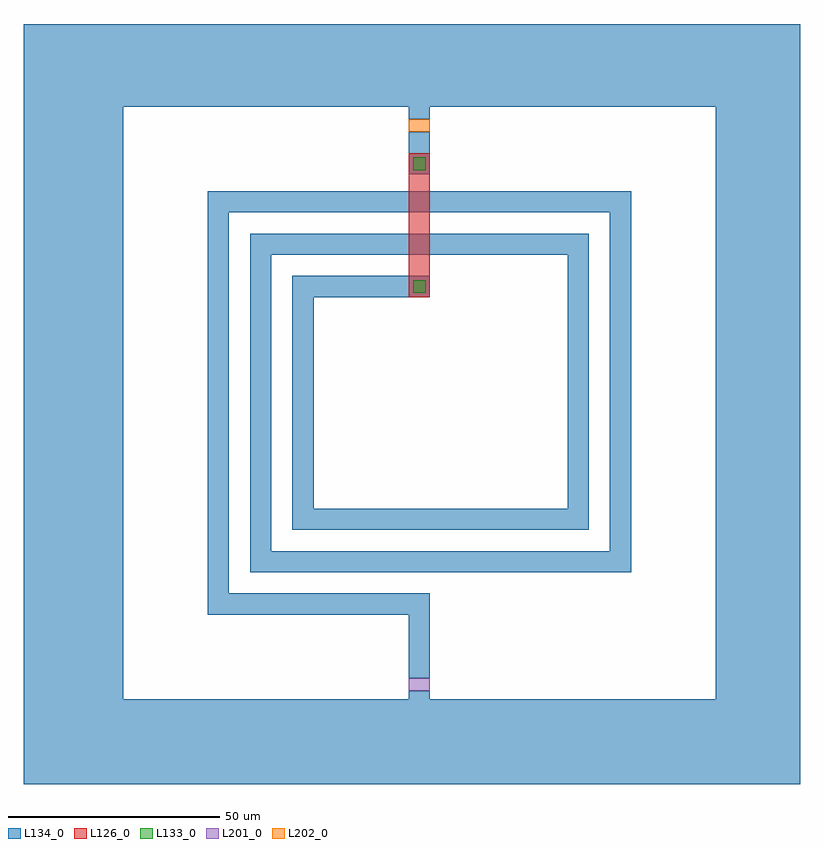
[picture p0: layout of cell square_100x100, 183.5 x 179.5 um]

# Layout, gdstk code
import gdstk
lib = gdstk.Library(unit=1e-6, precision=1e-09)
def R(c, l, rs):  # rectangles x0, y0, x1, y1
    for r in rs: c.add(gdstk.rectangle(r[:2], r[2:], *l))
def P(c, l, *ps):  # polygons
    for p in ps: c.add(gdstk.Polygon(p, *l))
L126_0 = (126, 0)
L133_0 = (133, 0)
L134_0 = (134, 0)
L201_0 = (201, 0)
L202_0 = (202, 0)

square_100x100 = lib.new_cell('square_100x100')
R(square_100x100, L126_0, [(57.5,90,62.5,124)])
R(square_100x100, L133_0, [(58.5,91,61.5,94), (58.5,120,61.5,123)])
R(square_100x100, L134_0, [(57.5,-5,62.5,-3), (57.5,119,62.5,129), (57.5,132,62.5,135)])
P(square_100x100, L134_0, [(-33.5,-25),(-33.5,135),(-10,135),(-10,-5),(130,-5),(130,135),(-33.5,135),(-33.5,154.5),(150,154.5),(150,-25)],
  [(57.5,0),(57.5,15),(10,15),(10,115),(110,115),(110,25),(20,25),(20,105),(100,105),(100,35),(30,35),(30,95),(62.5,95),(62.5,90),(35,90),(35,40),(95,40),(95,100),(25,100),(25,30),(105,30),(105,110),(15,110),(15,20),(62.5,20),(62.5,0)])
R(square_100x100, L201_0, [(57.5,-3,62.5,0)])
R(square_100x100, L202_0, [(57.5,129,62.5,132)])

lib.write_gds('square_100x100.gds')
